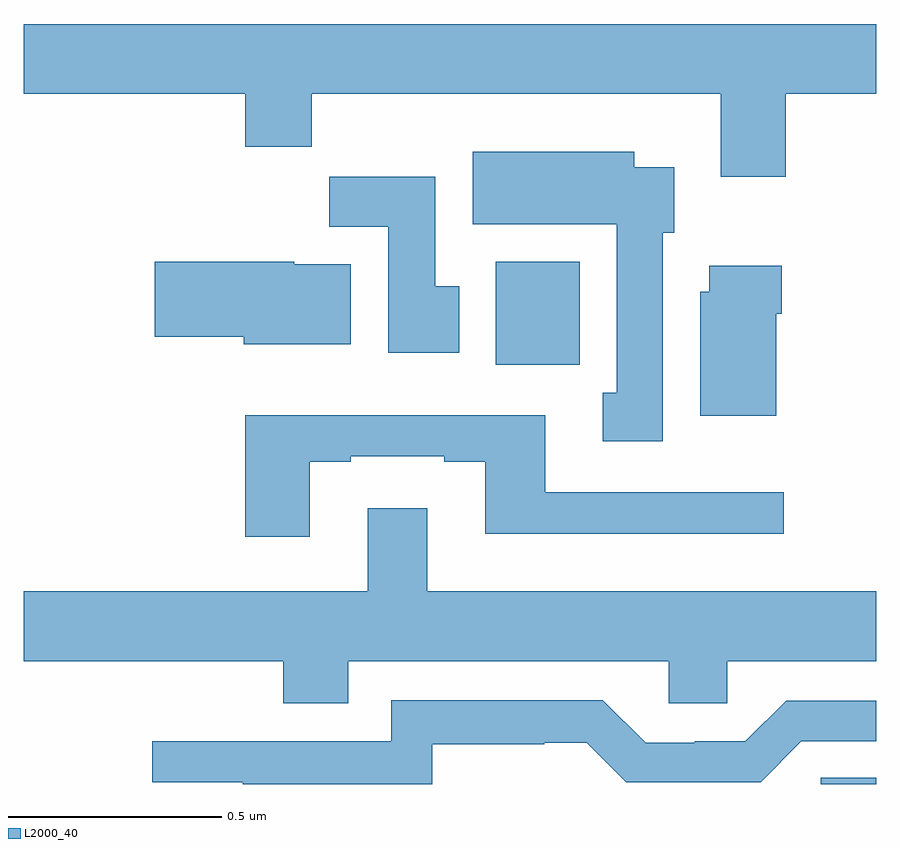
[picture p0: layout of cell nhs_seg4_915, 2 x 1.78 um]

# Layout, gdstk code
import gdstk
lib = gdstk.Library(unit=1e-6, precision=1e-09)
def R(c, l, rs):  # rectangles x0, y0, x1, y1
    for r in rs: c.add(gdstk.rectangle(r[:2], r[2:], *l))
def P(c, l, *ps):  # polygons
    for p in ps: c.add(gdstk.Polygon(p, *l))
L2000_40 = (2000, 40)

nhs_seg4_915 = lib.new_cell('nhs_seg4_915')
R(nhs_seg4_915, L2000_40, [(123.87,761.9,124,761.915), (123.107,762.884,123.304,763.126)])
P(nhs_seg4_915, L2000_40, [(123.788,763.52),(124,763.52),(124,763.684),(122,763.684),(122,763.52),(122.519,763.52),(122.519,763.396),(122.675,763.396),(122.675,763.52),(123.635,763.52),(123.635,763.326),(123.788,763.326)],
  [(123.499,763.194),(123.526,763.194),(123.526,763.348),(123.433,763.348),(123.433,763.384),(123.053,763.384),(123.053,763.214),(123.392,763.214),(123.392,762.818),(123.359,762.818),(123.359,762.705),(123.499,762.705)],
  [(123.022,763.068),(122.965,763.068),(122.965,763.326),(122.716,763.326),(122.716,763.208),(122.855,763.208),(122.855,762.912),(123.022,762.912)],
  [(122.767,763.12),(122.634,763.12),(122.634,763.126),(122.307,763.126),(122.307,762.95),(122.516,762.95),(122.516,762.932),(122.767,762.932)],
  [(123.766,763.004),(123.779,763.004),(123.779,763.117),(123.608,763.117),(123.608,763.056),(123.587,763.056),(123.587,762.764),(123.766,762.764)],
  [(122.671,762.657),(122.767,762.657),(122.767,762.669),(122.987,762.669),(122.987,762.657),(123.083,762.657),(123.083,762.488),(123.784,762.488),(123.784,762.585),(123.223,762.585),(123.223,762.766),(122.519,762.766),(122.519,762.48),(122.671,762.48)],
  [(122.761,762.188),(123.513,762.188),(123.513,762.09),(123.651,762.09),(123.651,762.188),(124,762.188),(124,762.352),(122.947,762.352),(122.947,762.547),(122.807,762.547),(122.807,762.352),(122,762.352),(122,762.188),(122.609,762.188),(122.609,762.089),(122.761,762.089)],
  [(122.958,761.993),(123.221,761.993),(123.221,761.997),(123.321,761.997),(123.414,761.904),(123.729,761.904),(123.825,762),(124,762),(124,762.096),(123.789,762.096),(123.693,762),(123.575,762),(123.575,761.997),(123.459,761.997),(123.359,762.097),(122.862,762.097),(122.862,762),(122.301,762),(122.301,761.904),(122.514,761.904),(122.514,761.9),(122.958,761.9)])

lib.write_gds('nhs_seg4_915.gds')
